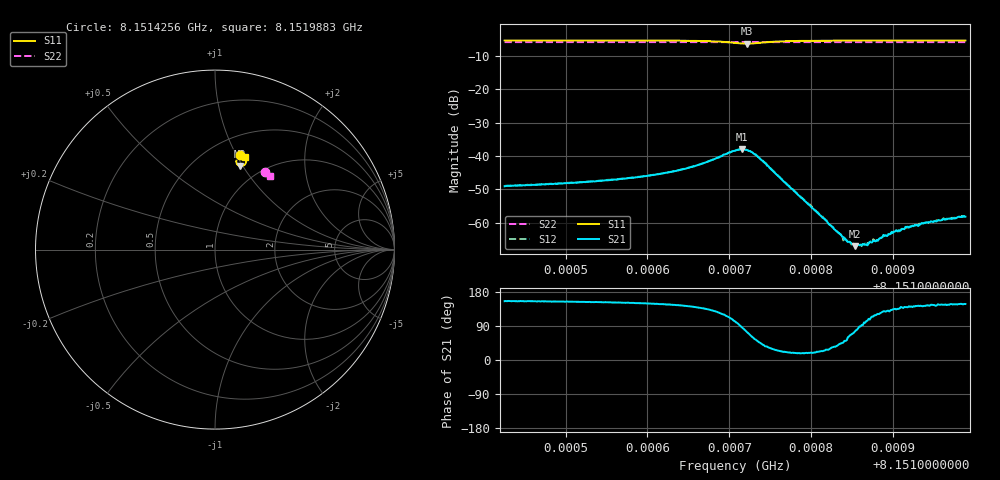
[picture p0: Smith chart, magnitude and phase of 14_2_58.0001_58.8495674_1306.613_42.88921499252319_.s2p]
#  HZ  S  RI  R  50.00
! Rohde & Schwarz Vector Network Analyzer
! Rohde-Schwarz,ZNB20-2Port,1311601062101988,3.16
! Created: UTC 3/21/2024, 12:50:54 AM
! freq[Hz]  re:S11  im:S11  re:S21  im:S21  re:S12  im:S12  re:S22  im:S22
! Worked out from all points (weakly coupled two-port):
!   401 points, 8.1514256 GHz to 8.1519883 GHz, reference 50 ohm
!   highest |S21| = -37.90 dB at 8.1517154 GHz (marker M1); lowest = -67.0 dB at 8.1518532 GHz (marker M2)
!   lowest |S11| = -6.3 dB at 8.151721 GHz (marker M3), VSWR 2.89, Z = 39.8 + j48.6 ohm
!   |S11| at or under -10 dB: nowhere
!   |S22| runs from -5.8 to -5.8 dB; largest |S21 - S12| = 0.00025
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8.1514256e9  0.1381 0.5262  -0.0032 0.00148  -0.00321 0.00153  0.2785 0.4321
8.15151985e9  0.1469 0.5235  -0.00362 0.00181  -0.00361 0.00186  0.2836 0.4286
8.15156064e9  0.1514 0.5218  -0.00391 0.00211  -0.00389 0.00219  0.286 0.427
8.15161409e9  0.1587 0.518  -0.00453 0.00288  -0.00454 0.00294  0.2887 0.4248
8.1516591e9  0.168 0.5097  -0.00545 0.00467  -0.00544 0.00476  0.2913 0.423
8.15170693e9  0.1642 0.4719  -0.00247 0.0118  -0.00241 0.0119  0.2928 0.4198
8.15171537e9  0.1499 0.4652  0.000837 0.0127  0.000845 0.0127  0.2927 0.4195
8.151721e9  0.1383 0.466  0.00323 0.012  0.00327 0.012  0.2924 0.4195
8.15172803e9  0.1259 0.4734  0.00561 0.00998  0.00553 0.0099  0.2926 0.4197
8.15173506e9  0.1195 0.4843  0.00636 0.00737  0.00646 0.00737  0.2928 0.4201
8.15176038e9  0.125 0.5106  0.00448 0.00202  0.00458 0.00201  0.2947 0.4201
8.15180118e9  0.1401 0.5198  0.00157 0.000541  0.00165 0.000543  0.2977 0.4185
8.15183916e9  0.148 0.5209  0.000422 0.000438  0.000384 0.000384  0.2998 0.4171
8.15184338e9  0.1489 0.5208  0.000325 0.000421  0.000347 0.000446  0.2998 0.417
8.15185322e9  0.1503 0.5209  0.000115 0.00043  0.000117 0.000435  0.3005 0.4166
8.15186729e9  0.1524 0.5207  -0.000104 0.000456  -9.44e-05 0.000438  0.3011 0.4161
8.15187432e9  0.1535 0.5207  -0.000212 0.00046  -0.000178 0.000476  0.3016 0.4157
8.15188136e9  0.1542 0.5205  -0.000282 0.000456  -0.00028 0.000463  0.3018 0.4153
8.15189542e9  0.1559 0.5202  -0.000416 0.000526  -0.000446 0.000509  0.3027 0.415
8.15191512e9  0.1582 0.52  -0.000659 0.000562  -0.000607 0.000563  0.3037 0.4141
8.15193762e9  0.1604 0.5196  -0.000782 0.000595  -0.000807 0.00057  0.3049 0.4132
8.15198826e9  0.1651 0.5186  -0.00104 0.000658  -0.00105 0.000699  0.3077 0.411
